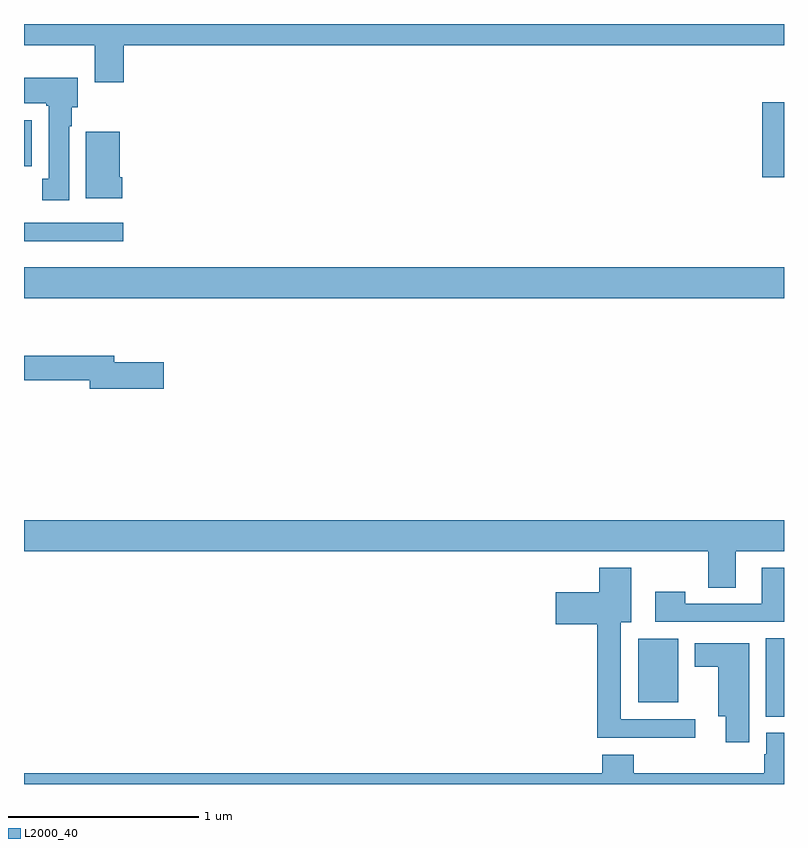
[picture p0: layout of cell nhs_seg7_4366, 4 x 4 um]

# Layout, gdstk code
import gdstk
lib = gdstk.Library(unit=1e-6, precision=1e-09)
def R(c, l, rs):  # rectangles x0, y0, x1, y1
    for r in rs: c.add(gdstk.rectangle(r[:2], r[2:], *l))
def P(c, l, *ps):  # polygons
    for p in ps: c.add(gdstk.Polygon(p, *l))
L2000_40 = (2000, 40)

nhs_seg7_4366 = lib.new_cell('nhs_seg7_4366')
R(nhs_seg7_4366, L2000_40, [(388.904,1058.354,389,1058.768), (388.232,1058.429,388.444,1058.764), (385,1060.556,389,1060.72), (385,1060.856,385.522,1060.953), (388.886,1061.193,389,1061.587), (385,1061.252,385.042,1061.494)])
P(nhs_seg7_4366, L2000_40, [(385.526,1061.888),(389,1061.888),(389,1062),(385,1062),(385,1061.888),(385.373,1061.888),(385.373,1061.694),(385.526,1061.694)],
  [(385.237,1061.462),(385.25,1061.462),(385.25,1061.562),(385.282,1061.562),(385.282,1061.716),(385,1061.716),(385,1061.582),(385.117,1061.582),(385.117,1061.569),(385.13,1061.569),(385.13,1061.186),(385.097,1061.186),(385.097,1061.073),(385.237,1061.073)],
  [(385.517,1061.194),(385.504,1061.194),(385.504,1061.434),(385.326,1061.434),(385.326,1061.283),(385.325,1061.283),(385.325,1061.082),(385.517,1061.082)],
  [(385.735,1060.221),(385.474,1060.221),(385.474,1060.255),(385,1060.255),(385,1060.126),(385.346,1060.126),(385.346,1060.079),(385.735,1060.079)],
  [(388.747,1059.224),(389,1059.224),(389,1059.388),(385,1059.388),(385,1059.224),(388.6,1059.224),(388.6,1059.034),(388.747,1059.034)],
  [(388.534,1058.34),(388.141,1058.34),(388.141,1058.852),(388.195,1058.852),(388.195,1059.139),(388.028,1059.139),(388.028,1059.01),(387.798,1059.01),(387.798,1058.84),(388.016,1058.84),(388.016,1058.243),(388.534,1058.243)],
  [(389,1059.139),(388.883,1059.139),(388.883,1058.949),(388.479,1058.949),(388.479,1059.013),(388.323,1059.013),(388.323,1058.853),(389,1058.853)],
  [(388.816,1058.74),(388.529,1058.74),(388.529,1058.618),(388.655,1058.618),(388.655,1058.357),(388.694,1058.357),(388.694,1058.22),(388.816,1058.22)],
  [(389,1058.269),(388.907,1058.269),(388.907,1058.157),(388.895,1058.157),(388.895,1058.056),(388.208,1058.056),(388.208,1058.155),(388.043,1058.155),(388.043,1058.056),(385,1058.056),(385,1058),(389,1058)])

lib.write_gds('nhs_seg7_4366.gds')
